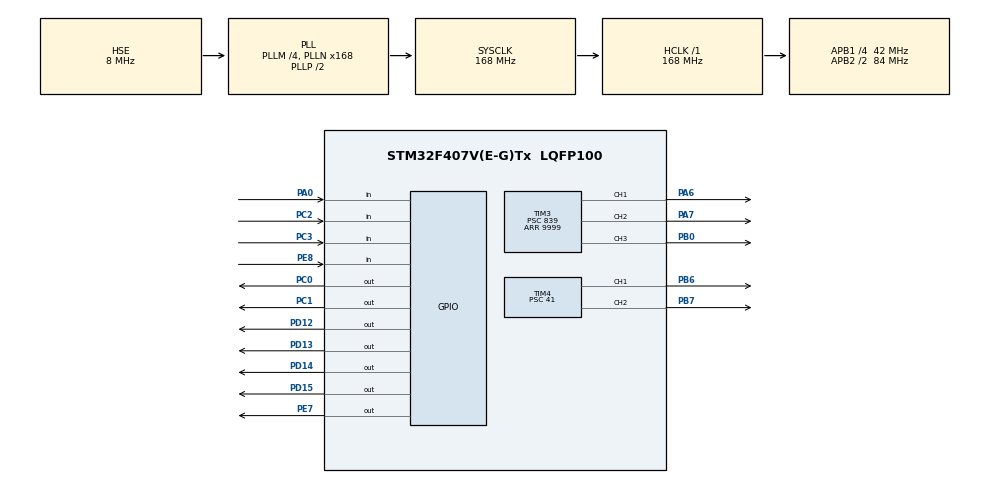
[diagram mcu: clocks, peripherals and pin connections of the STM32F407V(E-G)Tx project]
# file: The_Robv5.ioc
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Mcu.Family=STM32F4
Mcu.Name=STM32F407V(E-G)Tx
Mcu.Package=LQFP100
NVIC.FLASH_IRQn=true\:0\:0\:false\:false\:true\:true\:true
NVIC.FPU_IRQn=true\:0\:0\:false\:false\:true\:true\:false
NVIC.PVD_IRQn=true\:0\:0\:false\:false\:true\:true\:true
NVIC.PriorityGroup=NVIC_PRIORITYGROUP_4
NVIC.RCC_IRQn=true\:0\:0\:false\:false\:true\:true\:false
NVIC.TIM2_IRQn=true\:0\:0\:false\:false\:true\:true\:true
NVIC.TIM3_IRQn=true\:0\:0\:false\:false\:true\:true\:true
NVIC.TIM4_IRQn=true\:0\:0\:false\:false\:true\:true\:true
PA0-WKUP.GPIO_PuPd=GPIO_PULLDOWN
PA0-WKUP.Signal=GPIO_Input
PA6.Signal=S_TIM3_CH1
PA7.Signal=S_TIM3_CH2
PB0.Signal=S_TIM3_CH3
PB6.Signal=S_TIM4_CH1
PB7.Signal=S_TIM4_CH2
PC0.Signal=GPIO_Output
PC1.Signal=GPIO_Output
PC2.GPIO_PuPd=GPIO_PULLDOWN
PC2.Signal=GPIO_Input
PC3.GPIO_PuPd=GPIO_PULLDOWN
PC3.Signal=GPIO_Input
PD12.Signal=GPIO_Output
PD13.Signal=GPIO_Output
PD14.Signal=GPIO_Output
PD15.Signal=GPIO_Output
PE7.Signal=GPIO_Output
PE8.GPIO_PuPd=GPIO_PULLDOWN
PE8.Signal=GPIO_Input
PH0-OSC_IN.Mode=HSE-External-Oscillator
PH0-OSC_IN.Signal=RCC_OSC_IN
PH1-OSC_OUT.Mode=HSE-External-Oscillator
PH1-OSC_OUT.Signal=RCC_OSC_OUT
ProjectManager.HeapSize=0x200
ProjectManager.StackSize=0x400
ProjectManager.TargetToolchain=SW4STM32
RCC.48MHZClocksFreq_Value=84000000
RCC.AHBFreq_Value=168000000
RCC.APB1CLKDivider=RCC_HCLK_DIV4
RCC.APB1Freq_Value=42000000
RCC.APB1TimFreq_Value=84000000
RCC.APB2CLKDivider=RCC_HCLK_DIV2
RCC.APB2Freq_Value=84000000
RCC.APB2TimFreq_Value=168000000
RCC.CortexFreq_Value=168000000
RCC.HCLKFreq_Value=168000000
RCC.HSE_VALUE=8000000
RCC.HSI_VALUE=16000000
RCC.LSE_VALUE=32768
RCC.PLLM=4
RCC.PLLN=168
RCC.PLLSourceVirtual=RCC_PLLSOURCE_HSE
RCC.SYSCLKFreq_VALUE=168000000
RCC.SYSCLKSource=RCC_SYSCLKSOURCE_PLLCLK
RCC.VCOOutputFreq_Value=336000000
SH.S_TIM3_CH1.0=TIM3_CH1,PWM Generation1 CH1
SH.S_TIM3_CH2.0=TIM3_CH2,PWM Generation2 CH2
SH.S_TIM3_CH3.0=TIM3_CH3,PWM Generation3 CH3
SH.S_TIM4_CH1.0=TIM4_CH1,PWM Generation1 CH1
SH.S_TIM4_CH2.0=TIM4_CH2,PWM Generation2 CH2
TIM2.Period=39
TIM2.Prescaler=20
TIM3.Channel-PWM\ Generation1\ CH1=TIM_CHANNEL_1
TIM3.Channel-PWM\ Generation2\ CH2=TIM_CHANNEL_2
TIM3.Channel-PWM\ Generation3\ CH3=TIM_CHANNEL_3
TIM3.Period=9999
TIM3.Prescaler=839
TIM4.Channel-PWM\ Generation1\ CH1=TIM_CHANNEL_1
TIM4.Channel-PWM\ Generation2\ CH2=TIM_CHANNEL_2
TIM4.Period=1999
TIM4.Prescaler=41
VP_TIM2_VS_ClockSourceINT.Mode=Internal
VP_TIM3_VS_ClockSourceINT.Mode=Internal
VP_TIM4_VS_ClockSourceINT.Mode=Internal
board=custom

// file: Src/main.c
/* USER CODE BEGIN Header */
/**
 ******************************************************************************
 * @file           : main.c
 * @brief          : Main program body
 ******************************************************************************
 * @attention
 *
 * <h2><center>&copy; Copyright (c) 2019 STMicroelectronics.
 * All rights reserved.</center></h2>
 *
 * This software component is licensed by ST under BSD 3-Clause license,
 * the "License"; You may not use this file except in compliance with the
 * License. You may obtain a copy of the License at:
 *                        opensource.org/licenses/BSD-3-Clause
 *
 ******************************************************************************
 */
/* USER CODE END Header */

#include "main.h"

TIM_HandleTypeDef htim2;
TIM_HandleTypeDef htim3;
TIM_HandleTypeDef htim4;

/* USER CODE BEGIN PV */
volatile int rozkaz = 0;
//0 - prosto
//1 - lewo
//2 - prawo
//3 - obrot
volatile int pwma = 0;
volatile int pwmb = 0;
volatile int licznik = 0;
//
volatile int znacznik = 0;
volatile int koniec = 2;
//
volatile int value = 0;
volatile int temp = 0;
//
volatile int echof = 0;
volatile int echol = 0;
volatile int echor = 0;
volatile long clocks = 0;
volatile int tempf1 = 0;
volatile int tempf2 = 0;
volatile int templ1 = 0;
volatile int templ2 = 0;
volatile int tempr1 = 0;
volatile int tempr2 = 0;
volatile int distancef = 0;
volatile int distancel = 0;
volatile int distancer = 0;
/* USER CODE END PV */

void SystemClock_Config(void);
static void MX_GPIO_Init(void);
static void MX_TIM2_Init(void);
static void MX_TIM3_Init(void);
static void MX_TIM4_Init(void);
/* USER CODE BEGIN PFP */
void HAL_TIM_PeriodElapsedCallback(TIM_HandleTypeDef *htim){
	if(htim->Instance == TIM2)
	{
		clocks++;
	}
	if(htim->Instance == TIM3)
	{
		znacznik++;
		if(znacznik == 3)
			znacznik = 0;
	}
}
/* USER CODE END PFP */

/* USER CODE BEGIN 0 */
void lewo()
{
	HAL_GPIO_WritePin(GPIOD, GPIO_PIN_12 | GPIO_PIN_13 | GPIO_PIN_14 | GPIO_PIN_15, GPIO_PIN_RESET);
	HAL_Delay(500);
	HAL_GPIO_WritePin(GPIOD, GPIO_PIN_13 | GPIO_PIN_14,GPIO_PIN_SET);
	TIM4->CCR1 = 1999;
	TIM4->CCR2 = 1999;
	HAL_Delay(400);
	rozkaz = 1;
	licznik++;
}

void prawo()
{
	HAL_GPIO_WritePin(GPIOD, GPIO_PIN_12 | GPIO_PIN_13 | GPIO_PIN_14 | GPIO_PIN_15, GPIO_PIN_RESET);
	HAL_Delay(500);
	HAL_GPIO_WritePin(GPIOD, GPIO_PIN_12 | GPIO_PIN_15,GPIO_PIN_SET);
	TIM4->CCR1 = 1999;
	TIM4->CCR2 = 1999;
	HAL_Delay(400);
	rozkaz = 2;
	licznik++;
}

void obrot()
{
	HAL_GPIO_WritePin(GPIOD, GPIO_PIN_12 | GPIO_PIN_13 | GPIO_PIN_14 | GPIO_PIN_15, GPIO_PIN_RESET);
	HAL_Delay(500);
	HAL_GPIO_WritePin(GPIOD, GPIO_PIN_13 | GPIO_PIN_14,GPIO_PIN_SET);
	TIM4->CCR1 = 1999;
	TIM4->CCR2 = 1999;
	HAL_Delay(800);
	rozkaz = 3;
	licznik++;
}

void przod()
{
	HAL_GPIO_WritePin(GPIOD, GPIO_PIN_12 | GPIO_PIN_13 | GPIO_PIN_14 | GPIO_PIN_15, GPIO_PIN_RESET);
	HAL_Delay(500);
	HAL_GPIO_WritePin(GPIOD, GPIO_PIN_13 | GPIO_PIN_15,GPIO_PIN_SET);
	TIM4->CCR1 = 999; // prawe 1729
	TIM4->CCR2 = 999; // lewe 1999
	rozkaz = 0;
	licznik++;

}

void sciana()
{
	HAL_GPIO_WritePin(GPIOD, GPIO_PIN_12 | GPIO_PIN_13 | GPIO_PIN_14 | GPIO_PIN_15, GPIO_PIN_RESET);
	koniec = 1;
	HAL_GPIO_WritePin(GPIOD, GPIO_PIN_12 | GPIO_PIN_14,GPIO_PIN_SET);
	HAL_GPIO_WritePin(GPIOD, GPIO_PIN_13 | GPIO_PIN_15,GPIO_PIN_RESET);
	TIM4->CCR1 = 999;
	TIM4->CCR2 = 999;
}

/* USER CODE END 0 */

int main(void)
{

  /* MCU Configuration--------------------------------------------------------*/

  /* Reset of all peripherals, Initializes the Flash interface and the Systick. */
  HAL_Init();

  /* Configure the system clock */
  SystemClock_Config();

  /* Initialize all configured peripherals */
  MX_GPIO_Init();
  MX_TIM2_Init();
  MX_TIM3_Init();
  MX_TIM4_Init();
  /* USER CODE BEGIN 2 */
	HAL_TIM_Base_Start_IT(&htim4);
	HAL_TIM_PWM_Start(&htim4, TIM_CHANNEL_1);
	HAL_TIM_PWM_Start(&htim4, TIM_CHANNEL_2);
	HAL_GPIO_WritePin(GPIOC, GPIO_PIN_0 | GPIO_PIN_1, GPIO_PIN_SET);
	HAL_GPIO_WritePin(GPIOE, GPIO_PIN_7, GPIO_PIN_SET);
	TIM4->CCR1 = 999; // prawe 1729
	TIM4->CCR2 = 999; // lewe 1999
	//
	HAL_TIM_Base_Start_IT(&htim2);
	HAL_TIM_Base_Start_IT(&htim3);
	HAL_TIM_PWM_Start(&htim3, TIM_CHANNEL_1);
	HAL_TIM_PWM_Start(&htim3, TIM_CHANNEL_2);
	HAL_TIM_PWM_Start(&htim3, TIM_CHANNEL_3);
	TIM3->CCR1 = 1;
	TIM3->CCR2 = 1;
	TIM3->CCR3 = 1;
  /* USER CODE END 2 */

  /* Infinite loop */
  /* USER CODE BEGIN WHILE */
	while (1)
	{
		pwma = TIM4->CCR1;
		pwmb = TIM4->CCR2;
		value = HAL_GPIO_ReadPin(GPIOA, GPIO_PIN_0);
		if(temp == 0)
		{
			if(value==1)
			{
				HAL_GPIO_WritePin(GPIOD, GPIO_PIN_13 | GPIO_PIN_15,GPIO_PIN_SET);
				HAL_GPIO_WritePin(GPIOD, GPIO_PIN_12 | GPIO_PIN_14,GPIO_PIN_RESET);

				koniec = 0;
				temp = 1;
			}
		}

		// implementacja czujnika przedniego
		if(znacznik == 0)
			echof = HAL_GPIO_ReadPin(GPIOC, GPIO_PIN_2);
		if (echof == 1 && tempf1 == 0)
		{
			tempf1 = 1;
			tempf2 = clocks;

		}
		if (echof == 0 && tempf1 == 1)
		{
			tempf1 = 0;
			distancef = (clocks - tempf2)*34/200;
			if (distancef >200) distancef = 201;
			if (distancef <2) distancef = 1;

		}
		// implementacja czujnika lewego
		if(znacznik == 1)
			echol = HAL_GPIO_ReadPin(GPIOC, GPIO_PIN_3);
		if (echol == 1 && templ1 == 0)
		{
			templ1 = 1;
			templ2 = clocks;

		}
		if (echol == 0 && templ1 == 1)
		{
			templ1 = 0;
			distancel = (clocks - templ2)*34/200;
			if (distancel >200) distancel = 201;
			if (distancel<2) distancel = 1;

		}
		// implementacja czujnika prawego
		if(znacznik == 2)
			echor = HAL_GPIO_ReadPin(GPIOE, GPIO_PIN_8);
		if (echor == 1 && tempr1 == 0)
		{
			tempr1 = 1;
			tempr2 = clocks;

		}
		if (echor == 0 && tempr1 == 1)
		{
			tempr1 = 0;
			distancer = (clocks - tempr2)*34/200;
			if (distancer >200) distancer = 201;
			if (distancer <2) distancer = 1;

		}
		// bez przeszkod
		if(koniec == 0 && distancef >= 25 && clocks > 10000 && rozkaz !=0)
		{
			przod();
		}
		//blisko �ciany
		if(koniec == 0 && distancef < 25 && clocks >10000)
		{
			TIM4->CCR1 = 1899;
			TIM4->CCR2 = 1999;
		}

		if(koniec == 0 && distancef < 25 && clocks >10000)
		{
			TIM4->CCR1 = 1424;
			TIM4->CCR2 = 1499;
		}
		//�ciana z przdu
		if(koniec == 0 && distancef < 15 && clocks > 10000)
		{
			if(distancer > 30 && distancel > 30 && rozkaz !=2)
				prawo();
			if(distancer < 30 && distancel > 30 && rozkaz !=1)
				lewo();
			if(distancer > 30 && distancel < 30 && rozkaz !=2)
				prawo();
			if(distancer < 30 && distancel < 30 && rozkaz !=3)
				obrot();

		}

		// implementacja ruchu k�

    /* USER CODE END WHILE */

	}
}

void SystemClock_Config(void)
{
  RCC_OscInitTypeDef RCC_OscInitStruct = {0};
  RCC_ClkInitTypeDef RCC_ClkInitStruct = {0};

  /** Configure the main internal regulator output voltage
  */
  __HAL_RCC_PWR_CLK_ENABLE();
  __HAL_PWR_VOLTAGESCALING_CONFIG(PWR_REGULATOR_VOLTAGE_SCALE1);
  /** Initializes the CPU, AHB and APB busses clocks
  */
  RCC_OscInitStruct.OscillatorType = RCC_OSCILLATORTYPE_HSE;
  RCC_OscInitStruct.HSEState = RCC_HSE_ON;
  RCC_OscInitStruct.PLL.PLLState = RCC_PLL_ON;
  RCC_OscInitStruct.PLL.PLLSource = RCC_PLLSOURCE_HSE;
  RCC_OscInitStruct.PLL.PLLM = 4;
  RCC_OscInitStruct.PLL.PLLN = 168;
  RCC_OscInitStruct.PLL.PLLP = RCC_PLLP_DIV2;
  RCC_OscInitStruct.PLL.PLLQ = 4;
  if (HAL_RCC_OscConfig(&RCC_OscInitStruct) != HAL_OK)
  {
    Error_Handler();
  }
  /** Initializes the CPU, AHB and APB busses clocks
  */
  RCC_ClkInitStruct.ClockType = RCC_CLOCKTYPE_HCLK|RCC_CLOCKTYPE_SYSCLK
                              |RCC_CLOCKTYPE_PCLK1|RCC_CLOCKTYPE_PCLK2;
  RCC_ClkInitStruct.SYSCLKSource = RCC_SYSCLKSOURCE_PLLCLK;
  RCC_ClkInitStruct.AHBCLKDivider = RCC_SYSCLK_DIV1;
  RCC_ClkInitStruct.APB1CLKDivider = RCC_HCLK_DIV4;
  RCC_ClkInitStruct.APB2CLKDivider = RCC_HCLK_DIV2;

  if (HAL_RCC_ClockConfig(&RCC_ClkInitStruct, FLASH_LATENCY_5) != HAL_OK)
  {
    Error_Handler();
  }
}

static void MX_TIM2_Init(void)
{

  TIM_ClockConfigTypeDef sClockSourceConfig = {0};
  TIM_MasterConfigTypeDef sMasterConfig = {0};

  htim2.Instance = TIM2;
  htim2.Init.Prescaler = 20;
  htim2.Init.CounterMode = TIM_COUNTERMODE_UP;
  htim2.Init.Period = 39;
  htim2.Init.ClockDivision = TIM_CLOCKDIVISION_DIV1;
  htim2.Init.AutoReloadPreload = TIM_AUTORELOAD_PRELOAD_DISABLE;
  if (HAL_TIM_Base_Init(&htim2) != HAL_OK)
  {
    Error_Handler();
  }
  sClockSourceConfig.ClockSource = TIM_CLOCKSOURCE_INTERNAL;
  if (HAL_TIM_ConfigClockSource(&htim2, &sClockSourceConfig) != HAL_OK)
  {
    Error_Handler();
  }
  sMasterConfig.MasterOutputTrigger = TIM_TRGO_RESET;
  sMasterConfig.MasterSlaveMode = TIM_MASTERSLAVEMODE_DISABLE;
  if (HAL_TIMEx_MasterConfigSynchronization(&htim2, &sMasterConfig) != HAL_OK)
  {
    Error_Handler();
  }

}

static void MX_TIM3_Init(void)
{

  TIM_ClockConfigTypeDef sClockSourceConfig = {0};
  TIM_MasterConfigTypeDef sMasterConfig = {0};
  TIM_OC_InitTypeDef sConfigOC = {0};

  htim3.Instance = TIM3;
  htim3.Init.Prescaler = 839;
  htim3.Init.CounterMode = TIM_COUNTERMODE_UP;
  htim3.Init.Period = 9999;
  htim3.Init.ClockDivision = TIM_CLOCKDIVISION_DIV1;
  htim3.Init.AutoReloadPreload = TIM_AUTORELOAD_PRELOAD_DISABLE;
  if (HAL_TIM_Base_Init(&htim3) != HAL_OK)
  {
    Error_Handler();
  }
  sClockSourceConfig.ClockSource = TIM_CLOCKSOURCE_INTERNAL;
  if (HAL_TIM_ConfigClockSource(&htim3, &sClockSourceConfig) != HAL_OK)
  {
    Error_Handler();
  }
  if (HAL_TIM_PWM_Init(&htim3) != HAL_OK)
  {
    Error_Handler();
  }
  sMasterConfig.MasterOutputTrigger = TIM_TRGO_RESET;
  sMasterConfig.MasterSlaveMode = TIM_MASTERSLAVEMODE_DISABLE;
  if (HAL_TIMEx_MasterConfigSynchronization(&htim3, &sMasterConfig) != HAL_OK)
  {
    Error_Handler();
  }
  sConfigOC.OCMode = TIM_OCMODE_PWM1;
  sConfigOC.Pulse = 0;
  sConfigOC.OCPolarity = TIM_OCPOLARITY_HIGH;
  sConfigOC.OCFastMode = TIM_OCFAST_DISABLE;
  if (HAL_TIM_PWM_ConfigChannel(&htim3, &sConfigOC, TIM_CHANNEL_1) != HAL_OK)
  {
    Error_Handler();
  }
  if (HAL_TIM_PWM_ConfigChannel(&htim3, &sConfigOC, TIM_CHANNEL_2) != HAL_OK)
  {
    Error_Handler();
  }
  if (HAL_TIM_PWM_ConfigChannel(&htim3, &sConfigOC, TIM_CHANNEL_3) != HAL_OK)
  {
    Error_Handler();
  }
  HAL_TIM_MspPostInit(&htim3);

}

static void MX_TIM4_Init(void)
{

  TIM_ClockConfigTypeDef sClockSourceConfig = {0};
  TIM_MasterConfigTypeDef sMasterConfig = {0};
  TIM_OC_InitTypeDef sConfigOC = {0};

  htim4.Instance = TIM4;
  htim4.Init.Prescaler = 41;
  htim4.Init.CounterMode = TIM_COUNTERMODE_UP;
  htim4.Init.Period = 1999;
  htim4.Init.ClockDivision = TIM_CLOCKDIVISION_DIV1;
  htim4.Init.AutoReloadPreload = TIM_AUTORELOAD_PRELOAD_DISABLE;
  if (HAL_TIM_Base_Init(&htim4) != HAL_OK)
  {
    Error_Handler();
  }
  sClockSourceConfig.ClockSource = TIM_CLOCKSOURCE_INTERNAL;
  if (HAL_TIM_ConfigClockSource(&htim4, &sClockSourceConfig) != HAL_OK)
  {
    Error_Handler();
  }
  if (HAL_TIM_PWM_Init(&htim4) != HAL_OK)
  {
    Error_Handler();
  }
  sMasterConfig.MasterOutputTrigger = TIM_TRGO_RESET;
  sMasterConfig.MasterSlaveMode = TIM_MASTERSLAVEMODE_DISABLE;
  if (HAL_TIMEx_MasterConfigSynchronization(&htim4, &sMasterConfig) != HAL_OK)
  {
    Error_Handler();
  }
  sConfigOC.OCMode = TIM_OCMODE_PWM1;
  sConfigOC.Pulse = 0;
  sConfigOC.OCPolarity = TIM_OCPOLARITY_HIGH;
  sConfigOC.OCFastMode = TIM_OCFAST_DISABLE;
  if (HAL_TIM_PWM_ConfigChannel(&htim4, &sConfigOC, TIM_CHANNEL_1) != HAL_OK)
  {
    Error_Handler();
  }
  if (HAL_TIM_PWM_ConfigChannel(&htim4, &sConfigOC, TIM_CHANNEL_2) != HAL_OK)
  {
    Error_Handler();
  }
  HAL_TIM_MspPostInit(&htim4);

}

static void MX_GPIO_Init(void)
{
  GPIO_InitTypeDef GPIO_InitStruct = {0};

  /* GPIO Ports Clock Enable */
  __HAL_RCC_GPIOH_CLK_ENABLE();
  __HAL_RCC_GPIOC_CLK_ENABLE();
  __HAL_RCC_GPIOA_CLK_ENABLE();
  __HAL_RCC_GPIOB_CLK_ENABLE();
  __HAL_RCC_GPIOE_CLK_ENABLE();
  __HAL_RCC_GPIOD_CLK_ENABLE();

  /*Configure GPIO pin Output Level */
  HAL_GPIO_WritePin(GPIOC, GPIO_PIN_0|GPIO_PIN_1, GPIO_PIN_RESET);

  /*Configure GPIO pin Output Level */
  HAL_GPIO_WritePin(GPIOE, GPIO_PIN_7, GPIO_PIN_RESET);

  /*Configure GPIO pin Output Level */
  HAL_GPIO_WritePin(GPIOD, GPIO_PIN_12|GPIO_PIN_13|GPIO_PIN_14|GPIO_PIN_15, GPIO_PIN_RESET);

  /*Configure GPIO pins : PC0 PC1 */
  GPIO_InitStruct.Pin = GPIO_PIN_0|GPIO_PIN_1;
  GPIO_InitStruct.Mode = GPIO_MODE_OUTPUT_PP;
  GPIO_InitStruct.Pull = GPIO_NOPULL;
  GPIO_InitStruct.Speed = GPIO_SPEED_FREQ_LOW;
  HAL_GPIO_Init(GPIOC, &GPIO_InitStruct);

  /*Configure GPIO pins : PC2 PC3 */
  GPIO_InitStruct.Pin = GPIO_PIN_2|GPIO_PIN_3;
  GPIO_InitStruct.Mode = GPIO_MODE_INPUT;
  GPIO_InitStruct.Pull = GPIO_PULLDOWN;
  HAL_GPIO_Init(GPIOC, &GPIO_InitStruct);

  /*Configure GPIO pin : PA0 */
  GPIO_InitStruct.Pin = GPIO_PIN_0;
  GPIO_InitStruct.Mode = GPIO_MODE_INPUT;
  GPIO_InitStruct.Pull = GPIO_PULLDOWN;
  HAL_GPIO_Init(GPIOA, &GPIO_InitStruct);

  /*Configure GPIO pin : PE7 */
  GPIO_InitStruct.Pin = GPIO_PIN_7;
  GPIO_InitStruct.Mode = GPIO_MODE_OUTPUT_PP;
  GPIO_InitStruct.Pull = GPIO_NOPULL;
  GPIO_InitStruct.Speed = GPIO_SPEED_FREQ_LOW;
  HAL_GPIO_Init(GPIOE, &GPIO_InitStruct);

  /*Configure GPIO pin : PE8 */
  GPIO_InitStruct.Pin = GPIO_PIN_8;
  GPIO_InitStruct.Mode = GPIO_MODE_INPUT;
  GPIO_InitStruct.Pull = GPIO_PULLDOWN;
  HAL_GPIO_Init(GPIOE, &GPIO_InitStruct);

  /*Configure GPIO pins : PD12 PD13 PD14 PD15 */
  GPIO_InitStruct.Pin = GPIO_PIN_12|GPIO_PIN_13|GPIO_PIN_14|GPIO_PIN_15;
  GPIO_InitStruct.Mode = GPIO_MODE_OUTPUT_PP;
  GPIO_InitStruct.Pull = GPIO_NOPULL;
  GPIO_InitStruct.Speed = GPIO_SPEED_FREQ_LOW;
  HAL_GPIO_Init(GPIOD, &GPIO_InitStruct);

}

void Error_Handler(void)
{
}

/************************ (C) COPYRIGHT STMicroelectronics *****END OF FILE****/
